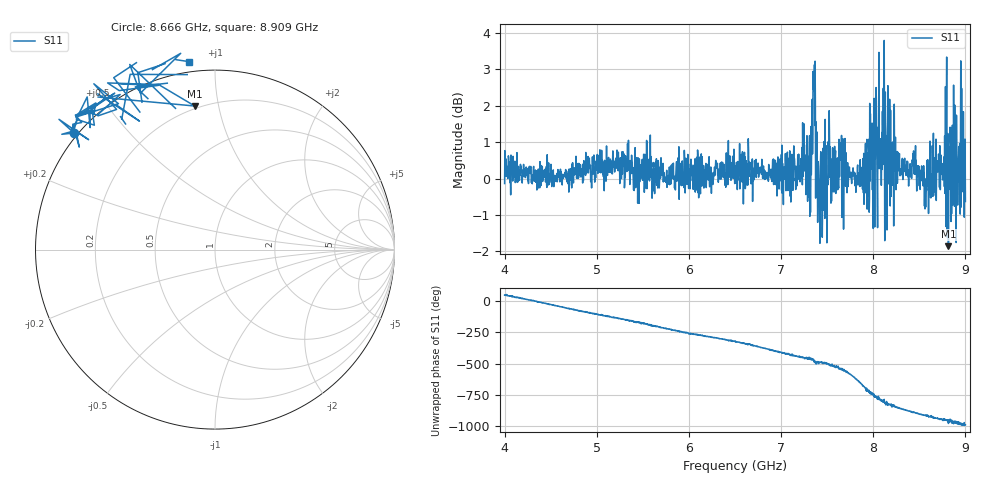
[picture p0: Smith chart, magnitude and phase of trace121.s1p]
! Created with skrf 1.8.0 (http://scikit-rf.org).
# Hz S RI R 50.0
!freq ReS11 ImS11
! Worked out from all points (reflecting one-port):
!   1601 points, 4 GHz to 9 GHz, reference 50 ohm
!   lowest |S11| = -1.9 dB at 8.816 GHz (marker M1), VSWR 9.40, Z = 9.25 + j42.6 ohm
!   phase of S11 starts at 50 deg and turns -1043 deg over the sweep
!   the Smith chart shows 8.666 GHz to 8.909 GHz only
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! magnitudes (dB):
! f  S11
! 4 GHz  -0.1
! 4.625 GHz  -0.2
! 5.25 GHz  -0.1
! 5.875 GHz  0.2
! 6.5 GHz  0.4
! 7.125 GHz  0.6
! 7.241 GHz  0.2
! 7.297 GHz  0.6
! 7.319 GHz  -0.9
! 7.356 GHz  2.7
! 7.369 GHz  3.2
! 7.4 GHz  -0.3
! 7.422 GHz  -1.8
! 7.509 GHz  -0.2
! 7.559 GHz  0.8
! 7.65 GHz  0.5
! 7.75 GHz  0.1
! 7.878 GHz  0.3
! 8.134 GHz  0.5
! 8.178 GHz  2.2
! 8.197 GHz  0.5
! 8.375 GHz  0.3
! 8.444 GHz  0.1
! 8.578 GHz  -0.3
! 8.816 GHz  -1.9
! 8.919 GHz  -0.3
! 8.972 GHz  0.9
! 9 GHz  -0.6
